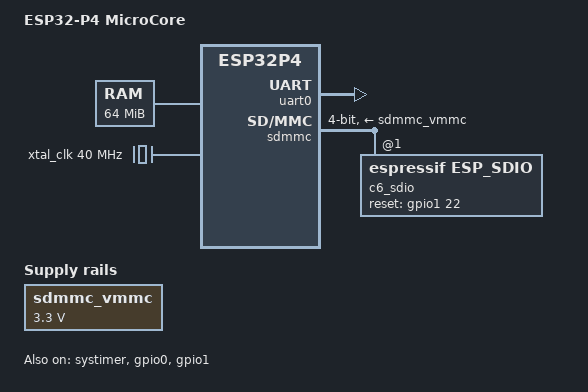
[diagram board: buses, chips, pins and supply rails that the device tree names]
// SPDX-License-Identifier: GPL-2.0
/*
 * ESP32-P4 MicroCore — Function EV (and compatible) boards.
 *
 * HP core: RV32IMAFC, PSRAM at 0x48000000 (size patched by linux-loader).
 * UART0:   0x500CA000, 115200 by the linux-loader.
 * SDMMC:   slot 0 = onboard microSD (GPIO 39-44), slot 1 = ESP32-C6
 *          ESP-Hosted SDIO (CLK=18 CMD=19 D0-D3=14-17, EN=GPIO54).
 */
/dts-v1/;

#include <dt-bindings/interrupt-controller/irq.h>
#include <dt-bindings/gpio/gpio.h>

/ {
	#address-cells = <1>;
	#size-cells = <1>;
	model = "ESP32-P4 MicroCore";
	compatible = "espressif,esp32p4-microcore", "espressif,esp32p4";

	cpus {
		#address-cells = <1>;
		#size-cells = <0>;
		timebase-frequency = <16000000>;

		CPU0: cpu@0 {
			device_type = "cpu";
			compatible = "riscv";
			reg = <0>;
			riscv,isa = "rv32imafc";
			mmu-type = "riscv,none";
			status = "okay";

			CPU0_intc: interrupt-controller {
				#interrupt-cells = <1>;
				compatible = "riscv,cpu-intc";
				interrupt-controller;
			};
		};
	};

	memory@48000000 {
		device_type = "memory";
		/* Size patched by linux-loader to the detected PSRAM size. */
		reg = <0x48000000 0x04000000>;
	};

	xtal_clk: xtal-clk {
		compatible = "fixed-clock";
		#clock-cells = <0>;
		clock-frequency = <40000000>;
		clock-output-names = "xtal";
	};

	aliases {
		serial0 = &uart0;
		mmc0 = &sdmmc;
		gpio0 = &gpio0;
		gpio1 = &gpio1;
	};

	chosen {
		stdout-path = "serial0:115200n8";
		linux,initrd-start = <0x11111111>;
		linux,initrd-end = <0x22222222>;
		bootargs = "console=ttyS0,115200n8 earlycon rdinit=/init idle=poll ipv6.disable=1 loglevel=4                                                                ";
	};

	soc: soc {
		#address-cells = <1>;
		#size-cells = <1>;
		compatible = "simple-bus";
		ranges;

		clic0: interrupt-controller@20801000 {
			compatible = "espressif,esp32p4-clic";
			reg = <0x20801000 0x3c0>,
			      <0x500d6000 0x200>;
			interrupt-controller;
			#interrupt-cells = <3>;
		};

		/*
		 * SYSTIMER: 52-bit counter at 16 MHz (XTAL).
		 * Level-triggered — target0 is a latched status bit
		 * (why2025 patch 0022).
		 */
		systimer: timer@500e2000 {
			compatible = "espressif,esp32p4-systimer";
			reg = <0x500e2000 0x100>;
			interrupts-extended = <&clic0 17 53 IRQ_TYPE_LEVEL_HIGH>;
			status = "okay";
		};

		uart0: serial@500ca000 {
			compatible = "esp,esp32p4-uart";
			reg = <0x500ca000 0x1000>;
			interrupts-extended = <&clic0 18 31 IRQ_TYPE_LEVEL_HIGH>;
			clocks = <&xtal_clk>;
			status = "okay";
		};

		wdt0: watchdog@500c2000 {
			compatible = "espressif,esp32p4-wdt";
			reg = <0x500c2000 0x100>;
			timeout-sec = <30>;
		};

		/*
		 * Two banks share MMIO 0x500E0000 (gpio-esp32p4).
		 * Bank 0: GPIO 0–31 (IRQ via INTMTX source 74).
		 * Bank 1: GPIO 32–56.
		 */
		gpio0: gpio@500e0000 {
			compatible = "espressif,esp32p4-gpio";
			reg = <0x500e0000 0x1000>;
			espressif,bank-id = <0>;
			gpio-controller;
			#gpio-cells = <2>;
			interrupt-controller;
			#interrupt-cells = <2>;
			interrupts-extended = <&clic0 21 74 IRQ_TYPE_LEVEL_HIGH>;
			gpio-line-names =
				"GPIO0", "GPIO1", "GPIO2", "GPIO3",
				"GPIO4", "GPIO5", "GPIO6", "GPIO7",
				"GPIO8", "GPIO9", "GPIO10", "GPIO11",
				"GPIO12", "GPIO13",
				"C6_SDIO_D0", "C6_SDIO_D1",
				"C6_SDIO_D2", "C6_SDIO_D3",
				"C6_SDIO_CLK", "C6_SDIO_CMD",
				"GPIO20", "GPIO21", "GPIO22", "GPIO23",
				"GPIO24", "GPIO25", "GPIO26", "GPIO27",
				"GPIO28", "GPIO29", "GPIO30", "GPIO31";
			status = "okay";
		};

		gpio1: gpio-bank1@500e0000 {
			compatible = "espressif,esp32p4-gpio";
			reg = <0x500e0000 0x1000>;
			espressif,bank-id = <1>;
			gpio-controller;
			#gpio-cells = <2>;
			gpio-line-names =
				"GPIO32", "GPIO33", "GPIO34",
				"BOOT_STRAP", "STRAP",
				"UART0_TX", "UART0_RX",
				"SD_D0", "SD_D1", "SD_D2", "SD_D3",
				"SD_CLK", "SD_CMD",
				"GPIO45", "GPIO46", "GPIO47",
				"GPIO48", "GPIO49", "GPIO50", "GPIO51",
				"GPIO52", "GPIO53", "C6_EN",
				"GPIO55", "GPIO56";
			status = "okay";
		};

		sdmmc_biu_clk: sdmmc-biu-clk {
			compatible = "fixed-clock";
			#clock-cells = <0>;
			clock-frequency = <40000000>;
			clock-output-names = "sdmmc-biu";
		};

		sdmmc_ciu_clk: sdmmc-ciu-clk {
			compatible = "fixed-clock";
			#clock-cells = <0>;
			clock-frequency = <40000000>;
			clock-output-names = "sdmmc-ciu";
		};

		sdmmc_vmmc: regulator-sdmmc-vmmc {
			compatible = "regulator-fixed";
			regulator-name = "sdmmc-vmmc";
			regulator-min-microvolt = <3300000>;
			regulator-max-microvolt = <3300000>;
			regulator-always-on;
			regulator-boot-on;
		};

		/*
		 * One DW MMC host, two physical slots:
		 *   slot 0 — onboard microSD (dedicated IOMUX GPIO 39-44)
		 *   slot 1 — ESP32-C6 ESP-Hosted (GPIO matrix 14-19)
		 * linux-loader muxes slot 1 and pulses C6 EN (GPIO 54)
		 * before the jump.
		 */
		sdmmc: mmc@50083000 {
			compatible = "snps,dw-mshc";
			reg = <0x50083000 0x1000>;
			dma-noncoherent;
			interrupts-extended = <&clic0 22 23 IRQ_TYPE_LEVEL_HIGH>;
			clocks = <&sdmmc_biu_clk>, <&sdmmc_ciu_clk>;
			clock-names = "biu", "ciu";
			vmmc-supply = <&sdmmc_vmmc>;
			bus-width = <4>;
			broken-cd;
			disable-wp;
			max-frequency = <25000000>;
			snps,num-slots = <2>;
			#address-cells = <1>;
			#size-cells = <0>;
			status = "okay";

			c6_sdio: wifi@1 {
				reg = <1>;
				compatible = "espressif,esp_sdio",
					     "espressif,esp-hosted-mcu";
				reset-gpios = <&gpio1 22 GPIO_ACTIVE_HIGH>;
				status = "okay";
			};
		};
	};
};
